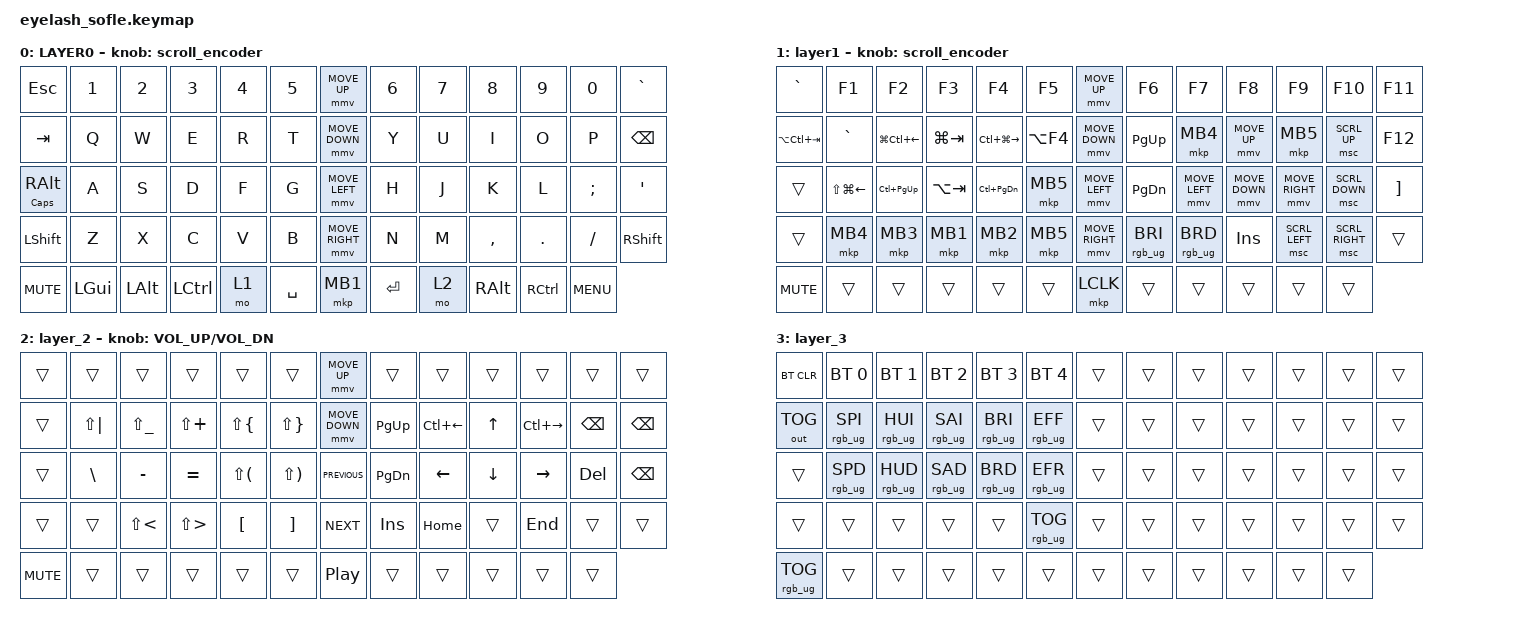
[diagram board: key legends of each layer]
#define ZMK_POINTING_DEFAULT_MOVE_VAL 1200  // 600
#define ZMK_POINTING_DEFAULT_SCRL_VAL 25   // 10

#include <input/processors.dtsi>
#include <zephyr/dt-bindings/input/input-event-codes.h>
#include <behaviors.dtsi>
#include <dt-bindings/zmk/bt.h>
#include <dt-bindings/zmk/keys.h>
#include <dt-bindings/zmk/outputs.h>
#include <dt-bindings/zmk/pointing.h>
#include <dt-bindings/zmk/rgb.h>

&mmv_input_listener { input-processors = <&zip_xy_scaler 2 1>; };

&msc_input_listener { input-processors = <&zip_scroll_scaler 2 1>; };

&msc {
    acceleration-exponent = <1>;      // 0
    time-to-max-speed-ms = <100>;       // 300
    delay-ms = <0>;                   // 0
};

&mmv {
    time-to-max-speed-ms = <500>;
    acceleration-exponent = <1>;
    trigger-period-ms = <16>;
};

&soft_off { hold-time-ms = <2000>; };

/ {
    scroll_encoder: scroll_encoder {
        compatible = "zmk,behavior-sensor-rotate";
        #sensor-binding-cells = <0>;
        bindings = <&msc SCRL_DOWN>, <&msc SCRL_UP>;

        tap-ms = <100>;
    };

    behaviors {
    };

    combos {
        compatible = "zmk,combos";

        softoff {
            bindings = <&soft_off>;
            key-positions = <14 28 40>;
        };
    };

    keymap {
        compatible = "zmk,keymap";

        layer0 {
            bindings = <
&kp ESC                 &kp N1        &kp N2        &kp N3     &kp N4  &kp N5       &mmv MOVE_UP     &kp N6     &kp N7  &kp N8         &kp N9     &kp N0      &kp GRAVE
&kp TAB                 &kp Q         &kp W         &kp E      &kp R   &kp T        &mmv MOVE_DOWN   &kp Y      &kp U   &kp I          &kp O      &kp P       &kp BACKSPACE
&mt CAPSLOCK RIGHT_ALT  &kp A         &kp S         &kp D      &kp F   &kp G        &mmv MOVE_LEFT   &kp H      &kp J   &kp K          &kp L      &kp SEMI    &kp APOS
&kp LSHFT               &kp Z         &kp X         &kp C      &kp V   &kp B        &mmv MOVE_RIGHT  &kp N      &kp M   &kp COMMA      &kp DOT    &kp FSLH    &kp RIGHT_SHIFT
&kp C_MUTE              &kp LEFT_GUI  &kp LEFT_ALT  &kp LCTRL  &mo 1   &kp SPACE    &mkp MB1         &kp ENTER  &mo 2   &kp RIGHT_ALT  &kp RCTRL  &kp K_MENU
            >;

            sensor-bindings = <&scroll_encoder>;
            display-name = "LAYER0";
        };

        layer_1 {
            bindings = <
&kp GRAVE        &kp F1            &kp F2            &kp F3       &kp F4             &kp F5        &mmv MOVE_UP     &kp F6           &kp F7           &kp F8          &kp F9           &kp F10          &kp F11
&kp LA(LC(TAB))  &kp GRAVE         &kp LG(LC(LEFT))  &kp LG(TAB)  &kp LC(LG(RIGHT))  &kp LA(F4)    &mmv MOVE_DOWN   &kp PG_UP        &mkp MB4         &mmv MOVE_UP    &mkp MB5         &msc SCRL_UP     &kp F12
&trans           &kp LS(LG(LEFT))  &kp LC(PG_UP)     &kp LA(TAB)  &kp LC(PAGE_DOWN)  &mkp MB5      &mmv MOVE_LEFT   &kp PG_DN        &mmv MOVE_LEFT   &mmv MOVE_DOWN  &mmv MOVE_RIGHT  &msc SCRL_DOWN   &kp RIGHT_BRACKET
&trans           &mkp MB4          &mkp MB3          &mkp MB1     &mkp MB2           &mkp MB5      &mmv MOVE_RIGHT  &rgb_ug RGB_BRI  &rgb_ug RGB_BRD  &kp INSERT      &msc SCRL_LEFT   &msc SCRL_RIGHT  &trans
&kp C_MUTE       &trans            &trans            &trans       &trans             &trans        &mkp LCLK        &trans           &trans           &trans          &trans           &trans
            >;

            display-name = "layer1";
            sensor-bindings = <&scroll_encoder>;
        };

        layer_2 {
            bindings = <
&trans      &trans        &trans         &trans        &trans        &trans          &mmv MOVE_UP      &trans     &trans        &trans    &trans         &trans    &trans
&trans      &kp LS(PIPE)  &kp LS(UNDER)  &kp LS(PLUS)  &kp LS(LBRC)  &kp LS(RBRC)    &mmv MOVE_DOWN    &kp PG_UP  &kp LC(LEFT)  &kp UP    &kp LC(RIGHT)  &kp BSPC  &kp BACKSPACE
&trans      &kp BSLH      &kp MINUS      &kp EQUAL     &kp LS(LPAR)  &kp LS(RPAR)    &kp C_PREVIOUS    &kp PG_DN  &kp LEFT      &kp DOWN  &kp RIGHT      &kp DEL   &kp BSPC
&trans      &trans        &kp LS(LT)     &kp LS(GT)    &kp LBKT      &kp RBKT        &kp C_NEXT        &kp INS    &kp HOME      &trans    &kp END        &trans    &trans
&kp C_MUTE  &trans        &trans         &trans        &trans        &trans          &kp C_PLAY_PAUSE  &trans     &trans        &trans    &trans         &trans
            >;

            sensor-bindings = <&inc_dec_kp C_VOL_UP C_VOL_DN>;
        };

        layer_3 {
            bindings = <
&bt BT_CLR       &bt BT_SEL 0     &bt BT_SEL 1     &bt BT_SEL 2     &bt BT_SEL 3     &bt BT_SEL 4       &trans  &trans  &trans  &trans  &trans  &trans  &trans
&out OUT_TOG     &rgb_ug RGB_SPI  &rgb_ug RGB_HUI  &rgb_ug RGB_SAI  &rgb_ug RGB_BRI  &rgb_ug RGB_EFF    &trans  &trans  &trans  &trans  &trans  &trans  &trans
&trans           &rgb_ug RGB_SPD  &rgb_ug RGB_HUD  &rgb_ug RGB_SAD  &rgb_ug RGB_BRD  &rgb_ug RGB_EFR    &trans  &trans  &trans  &trans  &trans  &trans  &trans
&trans           &trans           &trans           &trans           &trans           &rgb_ug RGB_TOG    &trans  &trans  &trans  &trans  &trans  &trans  &trans
&rgb_ug RGB_TOG  &trans           &trans           &trans           &trans           &trans             &trans  &trans  &trans  &trans  &trans  &trans
            >;
        };
    };

    conditional_layers {
        compatible = "zmk,conditional-layers";

        adj {
            if-layers = <1 2>;
            then-layer = <3>;
        };
    };
};
